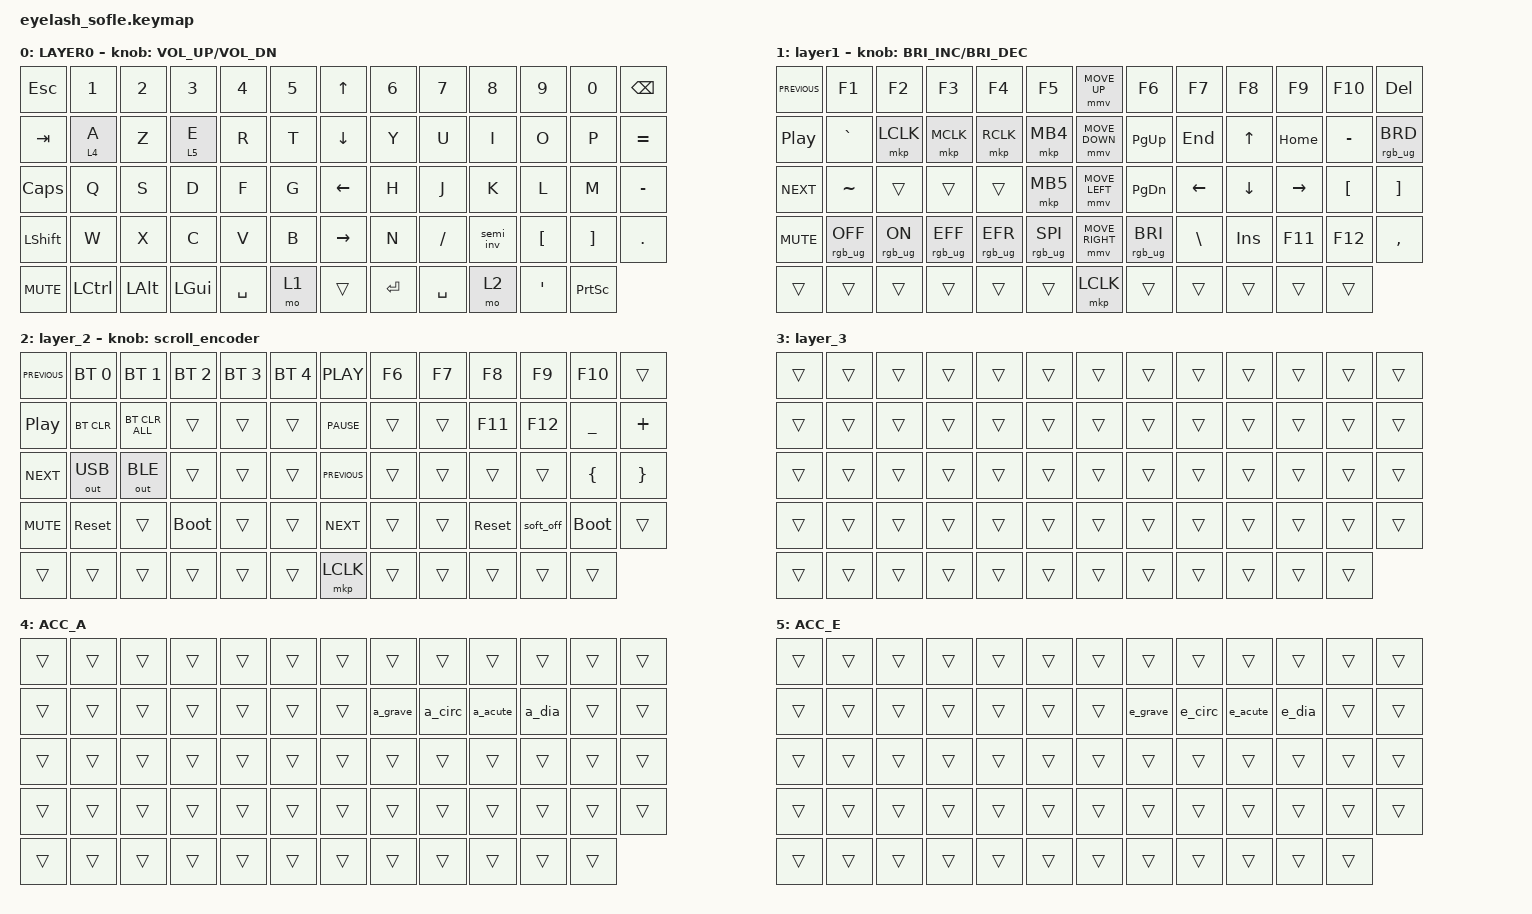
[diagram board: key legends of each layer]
#define ZMK_POINTING_DEFAULT_MOVE_VAL 2000  // 600
#define ZMK_POINTING_DEFAULT_SCRL_VAL 50   // 10

#include <input/processors.dtsi>
#include <zephyr/dt-bindings/input/input-event-codes.h>
#include <behaviors.dtsi>
#include <dt-bindings/zmk/bt.h>
#include <dt-bindings/zmk/ext_power.h>
#include <dt-bindings/zmk/keys.h>
#include <dt-bindings/zmk/pointing.h>
#include <dt-bindings/zmk/rgb.h>
#include <dt-bindings/zmk/outputs.h>

&mmv_input_listener { input-processors = <&zip_xy_scaler 2 1>; };

&msc_input_listener { input-processors = <&zip_scroll_scaler 2 1>; };

&msc {
    acceleration-exponent = <1>;      // 0
    time-to-max-speed-ms = <100>;       // 300
    delay-ms = <0>;                   // 0
};

&mmv {
    time-to-max-speed-ms = <500>;
    acceleration-exponent = <1>;
    trigger-period-ms = <16>;
};


/ {

    scroll_encoder: scroll_encoder {
        compatible = "zmk,behavior-sensor-rotate";
        #sensor-binding-cells = <0>;
        bindings = <&msc SCRL_DOWN>, <&msc SCRL_UP>;
        tap-ms = <100>;
    };

    behaviors {
        /* --- Touche semi-colon / colon --- */
        semi_inv: mod_morph_semi_inv {
            compatible = "zmk,behavior-mod-morph";
            label = "SEMI_INV";
            #binding-cells = <0>;
            /* défaut = ":" ; si Shift actif => ";" */
            bindings = <&kp COLON>, <&kp SEMICOLON>;
            mods = <(MOD_LSFT|MOD_RSFT)>;
        };
        /* --- Accents pour 'a' --- */
        a_grave: a_grave {
            compatible = "zmk,behavior-macro";
            label = "A_GRAVE";
            #binding-cells = <0>;
            bindings = <&kp LA(GRAVE)>, <&kp A>;
        };
        a_circ: a_circ {
            compatible = "zmk,behavior-macro";
            label = "A_CIRC";
            #binding-cells = <0>;
            bindings = <&kp LA(I) &kp A>;
        };
        a_acute: a_acute {
            compatible = "zmk,behavior-macro";
            label = "A_ACUTE";
            #binding-cells = <0>;
            bindings = <&kp LA(E) &kp A>;
        };
        a_dia: a_dia {
            compatible = "zmk,behavior-macro";
            label = "A_DIA";
            #binding-cells = <0>;
            bindings = <&kp LA(U) &kp A>;
        };

        /* --- Accents pour 'e' --- */
        e_grave: e_grave {
            compatible = "zmk,behavior-macro";
            label = "E_GRAVE";
            #binding-cells = <0>;
            bindings = <&kp LA(GRAVE)>, <&kp E>;
        };
        e_circ: e_circ {
            compatible = "zmk,behavior-macro";
            label = "E_CIRC";
            #binding-cells = <0>;
            bindings = <&kp LA(I) &kp E>;
        };
        e_acute: e_acute {
            compatible = "zmk,behavior-macro";
            label = "E_ACUTE";
            #binding-cells = <0>;
            bindings = <&kp LA(E) &kp E>;
        };
        e_dia: e_dia {
            compatible = "zmk,behavior-macro";
            label = "E_DIA";
            #binding-cells = <0>;
            bindings = <&kp LA(U) &kp E>;
        };
    };

    keymap {
        compatible = "zmk,keymap";

        layer0 {
            bindings = <
&kp ESC     &kp N1     &kp N2        &kp N3        &kp N4      &kp N5       &kp UP_ARROW     &kp N6     &kp N7     &kp N8           &kp N9           &kp N0               &kp BACKSPACE
&kp TAB     &lt 4 A    &kp Z         &lt 5 E       &kp R       &kp T        &kp DOWN_ARROW   &kp Y      &kp U      &kp I            &kp O            &kp P                &kp EQUAL
&kp CAPS    &kp Q      &kp S         &kp D         &kp F       &kp G        &kp LEFT_ARROW   &kp H      &kp J      &kp K            &kp L            &kp M                &kp MINUS
&kp LSHFT   &kp W      &kp X         &kp C         &kp V       &kp B        &kp RIGHT_ARROW  &kp N      &kp SLASH  &semi_inv        &kp LEFT_BRACKET &kp RIGHT_BRACKET    &kp PERIOD
&kp C_MUTE  &kp LCTRL  &kp LEFT_ALT  &kp LEFT_GUI  &kp SPACE   &mo 1        &trans           &kp ENTER  &kp SPACE  &mo 2            &kp APOS         &kp PRINTSCREEN
            >;

            sensor-bindings = <&inc_dec_kp C_VOLUME_UP C_VOL_DN>;
            display-name = "LAYER0";
        };

        layer_1 {
            bindings = <
&kp C_PREVIOUS   &kp F1           &kp F2          &kp F3           &kp F4           &kp F5             &mmv MOVE_UP     &kp F6           &kp F7           &kp F8      &kp F9     &kp F10           &kp DELETE
&kp C_PLAY_PAUSE &kp GRAVE        &mkp LCLK       &mkp MCLK        &mkp RCLK        &mkp MB4           &mmv MOVE_DOWN   &kp PG_UP        &kp END          &kp UP      &kp HOME   &kp MINUS         &rgb_ug RGB_BRD
&kp C_NEXT       &kp TILDE        &trans          &trans           &trans           &mkp MB5           &mmv MOVE_LEFT   &kp PG_DN        &kp LEFT         &kp DOWN    &kp RIGHT  &kp LEFT_BRACKET  &kp RIGHT_BRACKET
&kp C_MUTE       &rgb_ug RGB_OFF  &rgb_ug RGB_ON  &rgb_ug RGB_EFF  &rgb_ug RGB_EFR  &rgb_ug RGB_SPI    &mmv MOVE_RIGHT  &rgb_ug RGB_BRI  &kp BSLH         &kp INSERT  &kp F11    &kp F12           &kp COMMA
&trans           &trans           &trans          &trans           &trans           &trans             &mkp LCLK        &trans           &trans           &trans      &trans     &trans
            >;

            display-name = "layer1";
            sensor-bindings = <&inc_dec_kp C_BRIGHTNESS_INC C_BRIGHTNESS_DEC>;
        };

        layer_2 {
            bindings = <
&kp C_PREVIOUS   &bt BT_SEL 0  &bt BT_SEL 1    &bt BT_SEL 2  &bt BT_SEL 3  &bt BT_SEL 4    &kp C_PLAY      &kp F6  &kp F7  &kp F8      &kp F9     &kp F10      &trans
&kp C_PLAY_PAUSE &bt BT_CLR    &bt BT_CLR_ALL  &trans        &trans        &trans          &kp C_PAUSE     &trans  &trans  &kp F11     &kp F12    &kp UNDER    &kp PLUS
&kp C_NEXT       &out OUT_USB  &out OUT_BLE    &trans        &trans        &trans          &kp C_PREVIOUS  &trans  &trans  &trans      &trans     &kp LBRC     &kp RBRC
&kp C_MUTE       &sys_reset    &trans          &bootloader   &trans        &trans          &kp C_NEXT      &trans  &trans  &sys_reset  &soft_off  &bootloader  &trans
&trans           &trans        &trans          &trans        &trans        &trans          &mkp LCLK       &trans  &trans  &trans      &trans     &trans
            >;

            sensor-bindings = <&scroll_encoder>;
        };

        layer_3 {
            bindings = <
&trans  &trans  &trans  &trans  &trans  &trans    &trans  &trans  &trans  &trans  &trans  &trans  &trans
&trans  &trans  &trans  &trans  &trans  &trans    &trans  &trans  &trans  &trans  &trans  &trans  &trans
&trans  &trans  &trans  &trans  &trans  &trans    &trans  &trans  &trans  &trans  &trans  &trans  &trans
&trans  &trans  &trans  &trans  &trans  &trans    &trans  &trans  &trans  &trans  &trans  &trans  &trans
&trans  &trans  &trans  &trans  &trans  &trans    &trans  &trans  &trans  &trans  &trans  &trans
            >;
        };
        /* Layer 10 : accents de 'a' */
        acc_a {
            bindings = <
&trans &trans &trans &trans &trans &trans &trans   &trans    &trans &trans &trans &trans &trans
&trans &trans &trans &trans &trans &trans &trans   &a_grave  &a_circ &a_acute &a_dia &trans &trans
&trans &trans &trans &trans &trans &trans &trans   &trans    &trans &trans &trans  &trans &trans
&trans &trans &trans &trans &trans &trans &trans   &trans    &trans &trans &trans  &trans &trans
&trans &trans &trans &trans &trans &trans &trans   &trans    &trans &trans &trans  &trans
            >;
            display-name = "ACC_A";
        };

        /* Layer 11 : accents de 'e' */
        acc_e {
            bindings = <
&trans &trans &trans &trans &trans &trans &trans   &trans    &trans &trans &trans &trans &trans
&trans &trans &trans &trans &trans &trans &trans   &e_grave  &e_circ &e_acute &e_dia &trans &trans
&trans &trans &trans &trans &trans &trans &trans   &trans    &trans &trans &trans  &trans &trans
&trans &trans &trans &trans &trans &trans &trans   &trans    &trans &trans &trans  &trans &trans
&trans &trans &trans &trans &trans &trans &trans   &trans    &trans &trans &trans  &trans
            >;
            display-name = "ACC_E";
        };
    };
};
